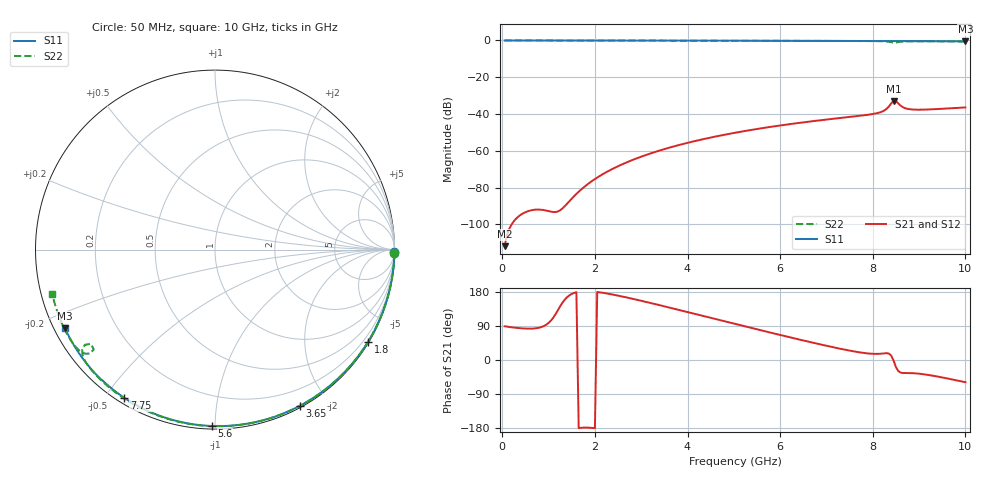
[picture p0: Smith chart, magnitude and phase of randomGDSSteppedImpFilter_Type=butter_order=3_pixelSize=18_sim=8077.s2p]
! freq	dB(S11)	phase(S11)	dB(S12)	phase(S12)
!  dB(S21)	phase(S21)	dB(S22)	phase(S22)
!S-par simulation data
#  GHz  S  DB  R 50
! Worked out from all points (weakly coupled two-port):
!   200 points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, 50 MHz to 10 GHz, reference 50 ohm
!   highest |S21| = -32.82 dB at 8.45 GHz (marker M1); lowest = -111.8 dB at 50 MHz (marker M2)
!   lowest |S11| = -0.5 dB at 10 GHz (marker M3), VSWR 34.48, Z = 1.54 - j12.3 ohm
!   |S11| at or under -10 dB: nowhere
!   |S22| runs from -1.2 to 0.0 dB; largest |S21 - S12| = 0
!   S11 on the Smith chart (normalised r, x): 50 MHz: open; 1.8 GHz: 0.03, -3.59; 3.65 GHz: 0.02, -1.68; 5.6 GHz: 0.02, -0.98; 7.75 GHz: 0.02, -0.56; 10 GHz: 0.03, -0.25
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0.05  -0.00 -0.9  -111.81 89.0  -111.81 89.0  -0.00 -1.0
0.85  -0.02 -14.8  -92.03 87.2  -92.03 87.2  -0.02 -16.3
1.75  -0.04 -30.3  -79.99 -178.5  -79.99 -178.5  -0.04 -33.1
1.8  -0.04 -31.1  -78.97 -178.4  -78.97 -178.4  -0.04 -34.1
2.1  -0.05 -36.2  -73.72 178.6  -73.72 178.6  -0.05 -39.6
2.45  -0.05 -42.0  -68.94 171.1  -68.94 171.1  -0.06 -45.9
2.9  -0.06 -49.4  -64.09 159.1  -64.09 159.1  -0.07 -54.0
3.4  -0.08 -57.5  -59.80 144.6  -59.80 144.6  -0.08 -62.7
3.65  -0.08 -61.4  -57.96 137.1  -57.96 137.1  -0.09 -67.0
4.3  -0.10 -71.6  -53.86 117.4  -53.86 117.4  -0.11 -78.0
5.05  -0.13 -83.0  -50.05 94.5  -50.05 94.5  -0.14 -90.2
5.6  -0.15 -91.1  -47.72 78.0  -47.72 78.0  -0.16 -98.9
6.7  -0.21 -106.8  -43.88 45.8  -43.88 45.8  -0.23 -115.9
7.75  -0.28 -121.4  -40.86 19.6  -40.86 19.6  -0.31 -132.0
8.15  -0.32 -126.9  -39.13 16.4  -39.13 16.4  -0.39 -138.7
8.25  -0.33 -128.2  -38.04 17.6  -38.04 17.6  -0.47 -140.8
8.35  -0.34 -129.6  -35.85 16.9  -35.85 16.9  -0.68 -143.1
8.45  -0.34 -130.9  -32.82 -1.9  -32.82 -1.9  -1.23 -142.7
8.5  -0.34 -131.6  -32.97 -18.7  -32.97 -18.7  -1.16 -140.5
8.65  -0.35 -133.7  -36.27 -34.4  -36.27 -34.4  -0.57 -142.3
8.85  -0.37 -136.5  -37.52 -34.7  -37.52 -34.7  -0.46 -146.2
10  -0.50 -152.4  -36.41 -58.7  -36.41 -58.7  -0.54 -164.6
